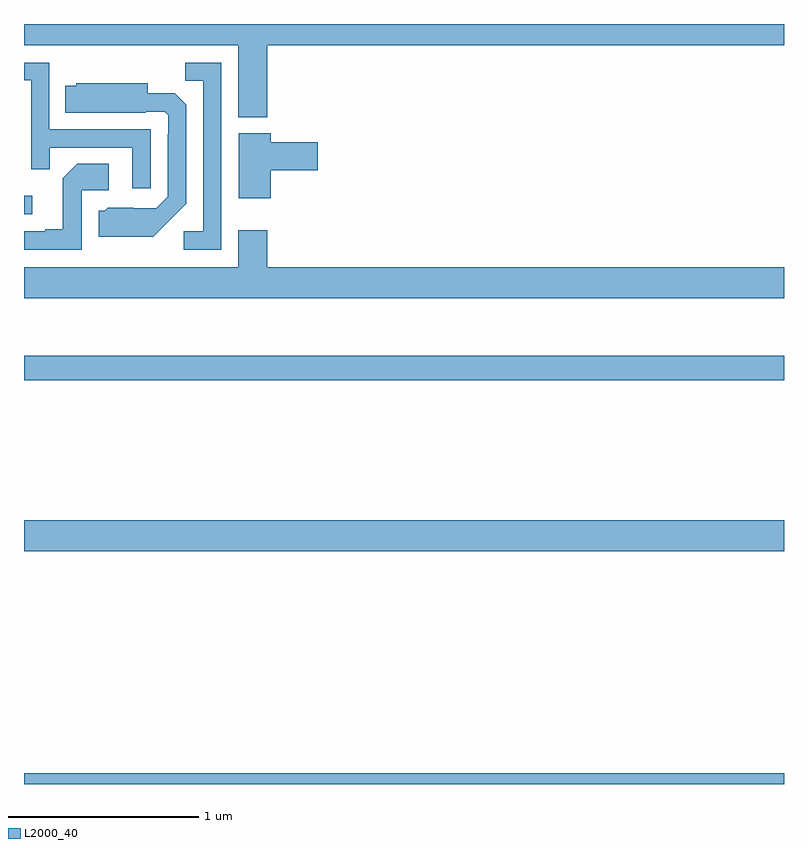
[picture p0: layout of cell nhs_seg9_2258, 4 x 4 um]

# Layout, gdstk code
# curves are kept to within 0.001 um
import gdstk
lib = gdstk.Library(unit=1e-6, precision=1e-09)
def R(c, l, rs):  # rectangles x0, y0, x1, y1
    for r in rs: c.add(gdstk.rectangle(r[:2], r[2:], *l))
def P(c, l, *ps):  # polygons
    for p in ps: c.add(gdstk.Polygon(p, *l))
L2000_40 = (2000, 40)

nhs_seg9_2258 = lib.new_cell('nhs_seg9_2258')
R(nhs_seg9_2258, L2000_40, [(239,1224.5,243,1224.556), (239,1225.724,243,1225.888), (239,1226.626,243,1226.755), (239,1227.498,239.044,1227.595)])
P(nhs_seg9_2258, L2000_40, [(240.281,1228.388),(243,1228.388),(243,1228.5),(239,1228.5),(239,1228.388),(240.128,1228.388),(240.128,1228.01),(240.281,1228.01)],
  [(240.039,1228.296),(239.848,1228.296),(239.848,1228.201),(239.943,1228.201),(239.943,1227.408),(239.841,1227.408),(239.841,1227.312),(240.039,1227.312)],
  [(239.667,1227.945),(239.133,1227.945),(239.133,1228.296),(239,1228.296),(239,1228.203),(239.037,1228.203),(239.037,1227.736),(239.135,1227.736),(239.135,1227.849),(239.571,1227.849),(239.571,1227.636),(239.667,1227.636)],
  [(239.761,1227.461),(239.853,1227.554),(239.853,1228.076),(239.794,1228.135),(239.65,1228.135),(239.65,1228.189),(239.274,1228.189),(239.274,1228.174),(239.218,1228.174),(239.218,1228.034),(239.642,1228.034),(239.642,1228.038),(239.742,1228.038),(239.76,1228.02),(239.76,1227.92),(239.757,1227.92),(239.757,1227.591),(239.697,1227.531),(239.44,1227.532),(239.424,1227.516),(239.393,1227.516),(239.393,1227.38),(239.681,1227.38)],
  [(240.298,1227.731),(240.547,1227.731),(240.547,1227.878),(240.298,1227.878),(240.298,1227.925),(240.131,1227.925),(240.131,1227.582),(240.298,1227.582)],
  [(239.304,1227.624),(239.446,1227.624),(239.446,1227.764),(239.281,1227.764),(239.205,1227.688),(239.205,1227.421),(239.111,1227.421),(239.111,1227.408),(239,1227.408),(239,1227.312),(239.304,1227.312)],
  [(243,1227.22),(240.281,1227.22),(240.281,1227.415),(240.128,1227.415),(240.128,1227.22),(239,1227.22),(239,1227.056),(243,1227.056)])

lib.write_gds('nhs_seg9_2258.gds')
